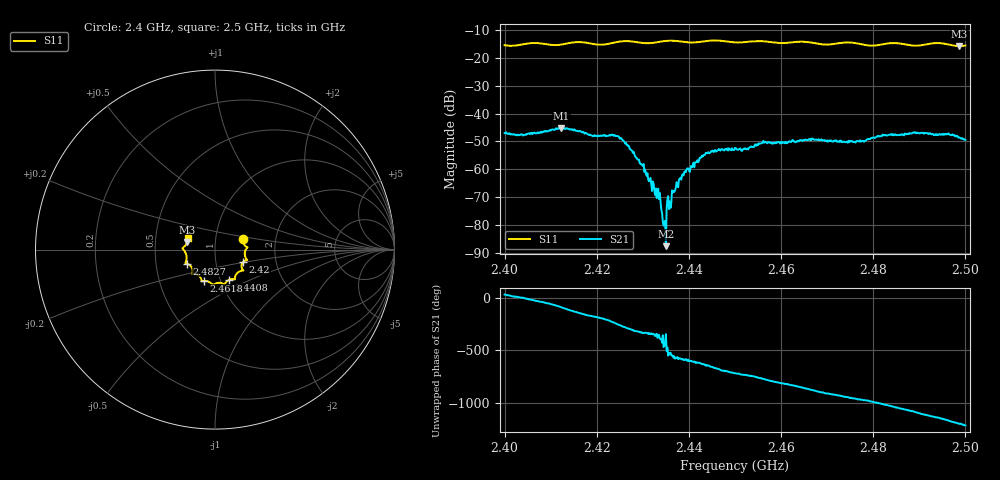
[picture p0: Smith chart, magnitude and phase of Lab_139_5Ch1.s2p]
# Hz S RI R 50
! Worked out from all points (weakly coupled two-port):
!   601 points, 2.4 GHz to 2.5 GHz, reference 50 ohm
!   highest |S21| = -45.13 dB at 2.4123 GHz (marker M1); lowest = -87.4 dB at 2.435 GHz (marker M2)
!   lowest |S11| = -15.9 dB at 2.4987 GHz (marker M3), VSWR 1.38, Z = 36.5 + j3.24 ohm
!   |S11| at or under -10 dB: start of sweep to end of sweep
!   S12 and S22 are empty: the file has one direction only
!   S11 on the Smith chart (normalised r, x): 2.4 GHz: 1.35, +0.17; 2.42 GHz: 1.36, -0.19; 2.4408 GHz: 1.10, -0.38; 2.4618 GHz: 0.83, -0.30; 2.4827 GHz: 0.72, -0.12; 2.5 GHz: 0.73, +0.10
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2.4e9  0.1544 0.0613  0.00385 0.00225  0 0  0 0
2.412333e9  0.1674 -0.035  -0.000114 -0.00554  0 0  0 0
2.416667e9  0.1789 -0.0586  -0.00409 -0.00227  0 0  0 0
2.42e9  0.1564 -0.0691  -0.00394 0.000245  0 0  0 0
2.423833e9  0.1515 -0.1073  -0.00217 0.00352  0 0  0 0
2.425833e9  0.1576 -0.1165  0.00038 0.00322  0 0  0 0
2.429667e9  0.1374 -0.1214  0.00102 0.000691  0 0  0 0
2.433333e9  0.1115 -0.153  0.000447 -7.58e-05  0 0  0 0
2.4345e9  0.1112 -0.1613  -3.05e-05 -9.43e-05  0 0  0 0
2.435e9  0.1116 -0.1637  4.13e-05 1.06e-05  0 0  0 0
2.436833e9  0.11 -0.1658  -0.000382 0.000111  0 0  0 0
2.439e9  0.0966 -0.1635  -0.000532 0.000736  0 0  0 0
2.440833e9  0.0774 -0.1687  -0.000497 0.00104  0 0  0 0
2.443667e9  0.0569 -0.1879  0.000486 0.00192  0 0  0 0
2.45e9  0.0269 -0.1849  0.00242 0.00022  0 0  0 0
2.461833e9  -0.0616 -0.1749  -0.000784 -0.00309  0 0  0 0
2.466667e9  -0.0758 -0.1681  -0.00324 -0.00148  0 0  0 0
2.475833e9  -0.1259 -0.1325  -0.00178 0.00256  0 0  0 0
2.482667e9  -0.158 -0.0778  0.00191 0.0037  0 0  0 0
2.483333e9  -0.1618 -0.0769  0.00226 0.00347  0 0  0 0
2.498667e9  -0.1539 0.0432  -0.00169 -0.00334  0 0  0 0
2.5e9  -0.1511 0.0632  -0.00226 -0.00252  0 0  0 0
